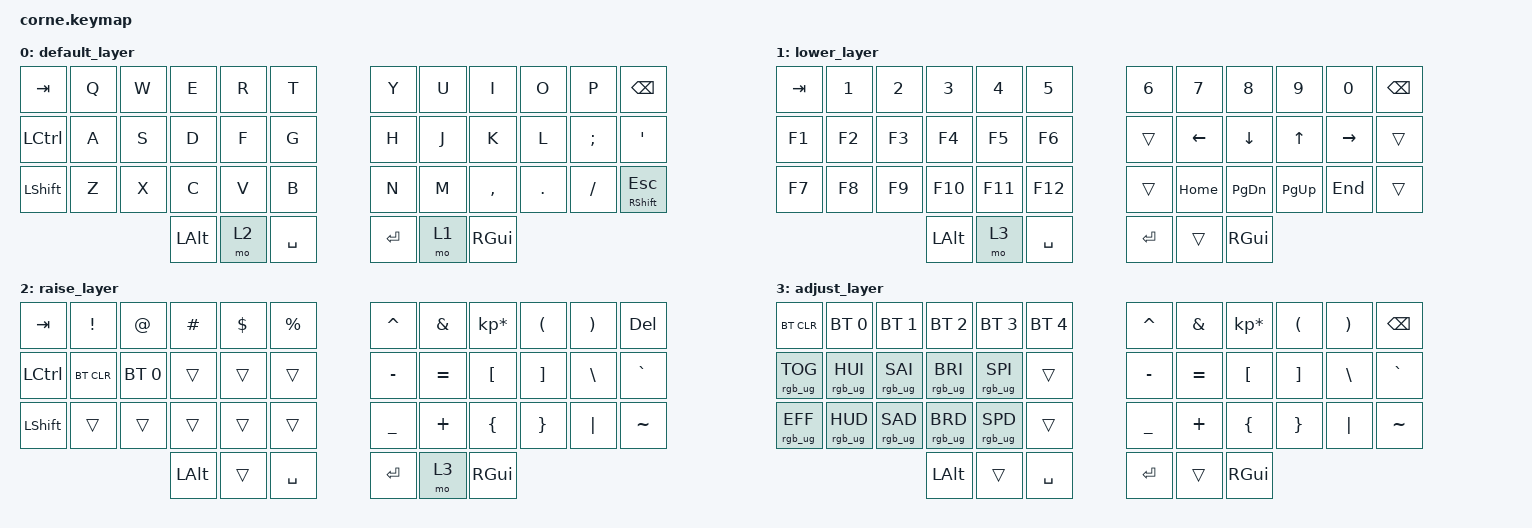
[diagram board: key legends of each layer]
/*
 * Copyright (c) 2020 The ZMK Contributors
 *
 * SPDX-License-Identifier: MIT
 */

#include <behaviors.dtsi>
#include <dt-bindings/zmk/keys.h>
#include <dt-bindings/zmk/bt.h>
#include <dt-bindings/zmk/rgb.h>
#include <../boards/shields/corne/boards/nice_nano.overlay>

/ {
        keymap {
                compatible = "zmk,keymap";

                default_layer {
// -----------------------------------------------------------------------------------------
// |  TAB |  Q  |  W  |  E  |  R  |  T  |   |  Y  |  U   |  I  |  O  |  P  | BKSP |
// | CTRL |  A  |  S  |  D  |  F  |  G  |   |  H  |  J   |  K  |  L  |  ;  |  '   |
// | SHFT |  Z  |  X  |  C  |  V  |  B  |   |  N  |  M   |  ,  |  .  |  /  | ESC  |
//                    | GUI | LWR | SPC |   | ENT | RSE  | ALT |
                        bindings = <
   &kp TAB   &kp Q &kp W &kp E &kp R &kp T   &kp Y &kp U  &kp I     &kp O   &kp P    &kp BSPC
   &kp LCTRL &kp A &kp S &kp D &kp F &kp G   &kp H &kp J  &kp K     &kp L   &kp SEMI &kp SQT
   &kp LSHFT &kp Z &kp X &kp C &kp V &kp B   &kp N &kp M  &kp COMMA &kp DOT &kp FSLH &mt RSHIFT ESC
                  &kp LALT &mo 2 &kp SPACE   &kp RET &mo 1 &kp RIGHT_GUI
                        >;
                };
                lower_layer {
// -----------------------------------------------------------------------------------------
// |  TAB |  1  |  2  |  3  |  4  |  5  |   |  6  |  7  |  8  |  9  |  0  | BKSP |
// | BTCLR| BT1 | BT2 | BT3 | BT4 | BT5 |   | LFT | DWN |  UP | RGT |     |      |
// | SHFT |     |     |     |     |     |   |     |     |     |     |     |      |
//                    | GUI |     | SPC |   | ENT |     | ALT |
                        bindings = <
   &kp TAB    &kp N1       &kp N2       &kp N3       &kp N4       &kp N5         &kp N6   &kp N7   &kp N8     &kp N9    &kp N0     &kp BSPC
   &kp F1     &kp F2       &kp F3       &kp F4       &kp F5       &kp F6         &trans   &kp LEFT &kp DOWN   &kp UP    &kp RIGHT  &trans
   &kp F7     &kp F8       &kp F9       &kp F10      &kp F11      &kp F12        &trans   &kp HOME &kp PG_DN  &kp PG_UP &kp END    &trans
                          	        &kp LALT     &mo 3        &kp SPACE       &kp RET  &trans   &kp RIGHT_GUI
                        >;
                };

                raise_layer {
// -----------------------------------------------------------------------------------------
// |  TAB |  !  |  @  |  #  |  $  |  %  |   |  ^  |  &  |  *  |  (  |  )  | BKSP |
// | CTRL |     |     |     |     |     |   |  -  |  =  |  [  |  ]  |  \  |  `   |
// | SHFT |     |     |     |     |     |   |  _  |  +  |  {  |  }  | "|" |  ~   |
//                    | GUI |     | SPC |   | ENT |     | ALT |
                        bindings = <
   &kp  TAB  &kp EXCL &kp AT &kp HASH &kp DLLR &kp PRCNT   &kp CARET &kp AMPS  &kp KP_MULTIPLY &kp LPAR &kp RPAR &kp DEL
   &kp LCTRL &bt BT_CLR  &bt BT_SEL 0 &trans   &trans   &trans      &kp MINUS &kp EQUAL &kp LBKT        &kp RBKT &kp BSLH &kp GRAVE
   &kp LSHFT &trans   &trans &trans   &trans   &trans      &kp UNDER &kp PLUS  &kp LBRC        &kp RBRC &kp PIPE &kp TILDE
                    	     &kp LALT &trans   &kp SPACE   &kp RET   &mo 3     &kp RIGHT_GUI
                        >;
                };

                adjust_layer {
// -----------------------------------------------------------------------------------------
// |  TAB |  !  |  @  |  #  |  $  |  %  |   |  ^  |  &  |  *  |  (  |  )  | BKSP |
// | CTRL |     |     |     |     |     |   |  -  |  =  |  [  |  ]  |  \  |  `   |
// | SHFT |     |     |     |     |     |   |  _  |  +  |  {  |  }  | "|" |  ~   |
//                    | GUI |     | SPC |   | ENT |     | ALT |
                        bindings = <
   &bt BT_CLR       &bt BT_SEL 0      &bt BT_SEL 1    &bt BT_SEL 2      &bt BT_SEL 3     &bt BT_SEL 4 &kp CARET &kp AMPS  &kp KP_MULTIPLY &kp LPAR &kp RPAR &kp BSPC
   &rgb_ug RGB_TOG  &rgb_ug RGB_HUI   &rgb_ug RGB_SAI &rgb_ug RGB_BRI   &rgb_ug RGB_SPI  &trans      &kp MINUS &kp EQUAL &kp LBKT        &kp RBKT &kp BSLH &kp GRAVE
   &rgb_ug RGB_EFF  &rgb_ug RGB_HUD   &rgb_ug RGB_SAD &rgb_ug RGB_BRD   &rgb_ug RGB_SPD  &trans      &kp UNDER &kp PLUS  &kp LBRC        &kp RBRC &kp PIPE &kp TILDE
                    	                          &kp LALT &trans   &kp SPACE   &kp RET   &trans    &kp RIGHT_GUI
                        >;
                };
        };
};
